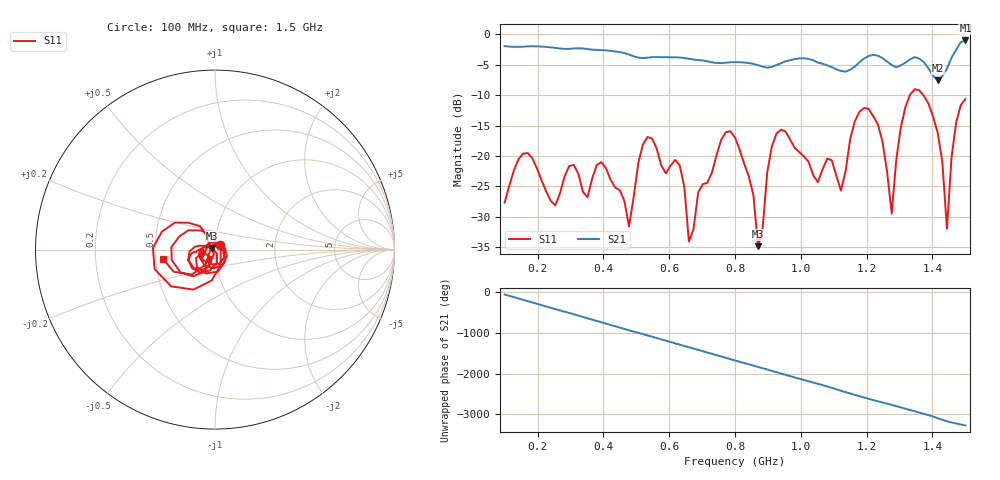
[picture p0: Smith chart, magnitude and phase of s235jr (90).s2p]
! NanoVNA-App
! Date: 2025-09-26 09:45:29
! Start: 100MHz Stop: 1,5GHz Points: 101
! S-Parameter data: F S11 S21 S12 S22
# Hz S RI R 50
!  Frequency  S11_Real  S11_Imag  S21_Real  S21_Imag  S12_Real  S12_Imag  S22_Real  S22_Imag
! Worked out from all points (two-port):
!   101 points, 100 MHz to 1.5 GHz, reference 50 ohm
!   highest |S21| = -1.02 dB at 1.5 GHz (marker M1); lowest = -7.6 dB at 1.416 GHz (marker M2)
!   |S21| within 3 dB of the highest: start of sweep to 657.5 MHz; 1.191 GHz to 1.25 GHz (59.11 MHz wide, 4.84 % of centre)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
!   lowest |S11| = -34.8 dB at 870 MHz (marker M3), VSWR 1.04, Z = 48.5 + j0.95 ohm
!   |S11| at or under -10 dB: start of sweep to 1.331 GHz; 1.372 GHz to end of sweep
!   S12 and S22 are empty: the file has one direction only
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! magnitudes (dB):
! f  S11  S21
! 100 MHz  -27.6  -2.0
! 156 MHz  -19.6  -2.0
! 254 MHz  -28.1  -2.2
! 338 MHz  -25.9  -2.3
! 394 MHz  -21.0  -2.6
! 478 MHz  -31.6  -3.3
! 520 MHz  -18.1  -3.9
! 576 MHz  -21.5  -3.8
! 632 MHz  -21.5  -3.8
! 660 MHz  -34.1  -4.0
! 800 MHz  -17.0  -4.6
! 870 MHz  -34.8  -5.1
! 926 MHz  -16.3  -5.1
! 1.038 GHz  -23.2  -4.3
! 1.122 GHz  -25.7  -6.0
! 1.206 GHz  -12.3  -3.6
! 1.276 GHz  -29.5  -5.0
! 1.332 GHz  -9.9  -4.1
! 1.416 GHz  -16.2  -7.6
! 1.444 GHz  -32.0  -5.6
! 1.472 GHz  -14.5  -2.6
! 1.5 GHz  -10.7  -1.0
